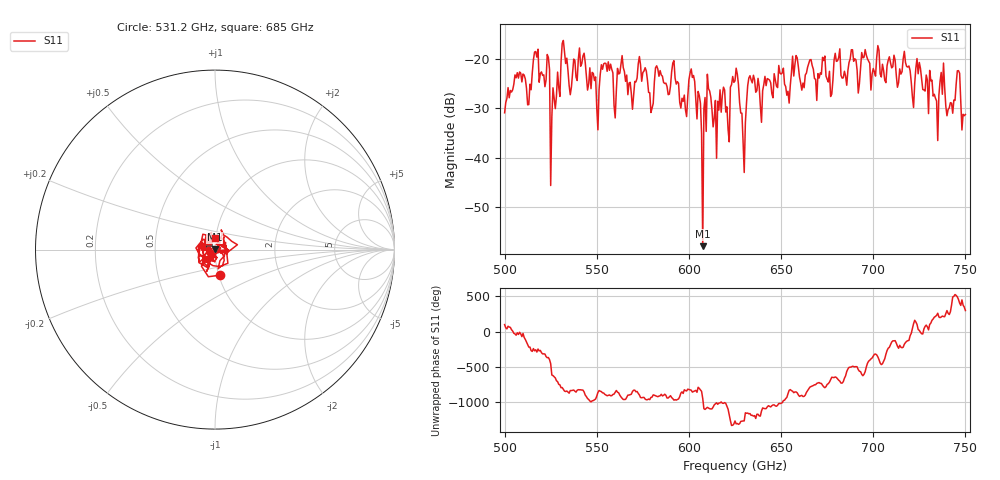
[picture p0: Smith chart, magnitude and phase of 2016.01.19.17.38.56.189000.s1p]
!Created with skrf (http://scikit-rf.org).
# GHz S RI R 50.0
!freq ReS11 ImS11
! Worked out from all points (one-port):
!   401 points, 500 GHz to 750 GHz, reference 50 ohm
!   lowest |S11| = -58.0 dB at 607.5 GHz (marker M1), VSWR 1.00, Z = 49.9 + j0.103 ohm
!   |S11| at or under -10 dB: start of sweep to end of sweep
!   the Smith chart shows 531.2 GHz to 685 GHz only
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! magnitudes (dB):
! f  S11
! 500 GHz  -30.9
! 506.9 GHz  -22.7
! 513.1 GHz  -29.2
! 516.9 GHz  -18.4
! 523.1 GHz  -19.0
! 526.2 GHz  -25.8
! 531.2 GHz  -16.8
! 550 GHz  -29.8
! 562.5 GHz  -22.8
! 579.4 GHz  -30.8
! 583.1 GHz  -22.0
! 593.8 GHz  -24.5
! 598.1 GHz  -30.3
! 601.9 GHz  -23.7
! 607.5 GHz  -58.0
! 611.2 GHz  -26.5
! 613.8 GHz  -31.9
! 618.1 GHz  -27.3
! 621.2 GHz  -34.3
! 625 GHz  -24.4
! 629.4 GHz  -36.7
! 633.8 GHz  -24.2
! 656.2 GHz  -19.4
! 687.5 GHz  -19.9
! 718.8 GHz  -21.6
! 733.8 GHz  -27.9
! 746.2 GHz  -22.3
! 750 GHz  -31.2
